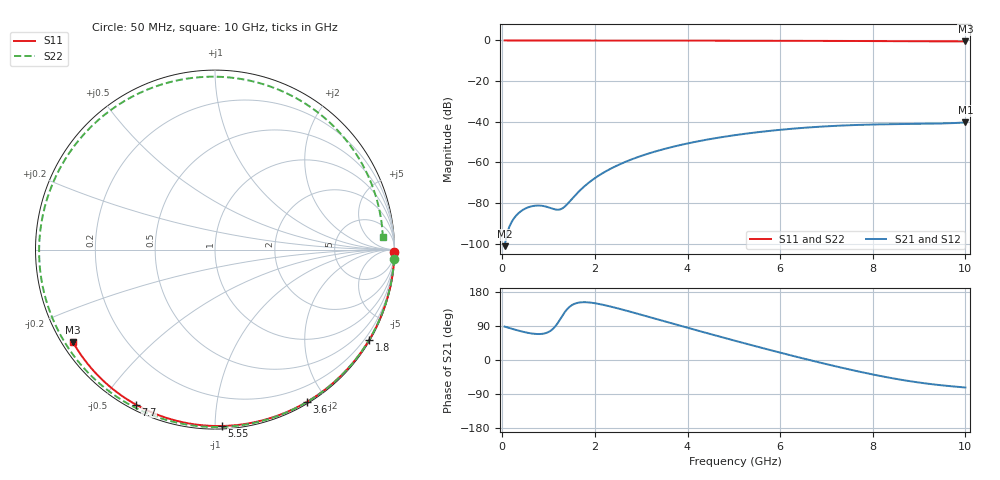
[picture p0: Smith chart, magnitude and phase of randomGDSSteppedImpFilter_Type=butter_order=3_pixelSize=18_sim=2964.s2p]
! freq	dB(S11)	phase(S11)	dB(S12)	phase(S12)
!  dB(S21)	phase(S21)	dB(S22)	phase(S22)
!S-par simulation data
#  GHz  S  DB  R 50
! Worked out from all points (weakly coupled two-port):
!   200 points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, 50 MHz to 10 GHz, reference 50 ohm
!   highest |S21| = -40.34 dB at 10 GHz (marker M1); lowest = -101.2 dB at 50 MHz (marker M2)
!   lowest |S11| = -0.5 dB at 10 GHz (marker M3), VSWR 35.10, Z = 1.55 - j14.8 ohm
!   |S11| at or under -10 dB: nowhere
!   |S22| runs from -0.6 to 0.0 dB; largest |S21 - S12| = 0
!   S11 on the Smith chart (normalised r, x): 50 MHz: open; 1.8 GHz: 0.03, -3.70; 3.6 GHz: 0.02, -1.77; 5.55 GHz: 0.02, -1.04; 7.7 GHz: 0.02, -0.61; 10 GHz: 0.03, -0.30
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0.05  -0.00 -0.9  -101.18 88.1  -101.18 88.1  -0.00 -2.9
0.4  -0.01 -6.8  -84.03 75.9  -84.03 75.9  -0.03 -23.0
0.75  -0.01 -12.7  -81.21 68.6  -81.21 68.6  -0.05 -42.3
1.05  -0.02 -17.8  -82.46 77.7  -82.46 77.7  -0.07 -58.2
1.4  -0.03 -23.7  -80.57 134.1  -80.57 134.1  -0.09 -75.4
1.75  -0.04 -29.4  -72.20 152.5  -72.20 152.5  -0.10 -91.4
1.8  -0.04 -30.3  -71.20 152.5  -71.20 152.5  -0.10 -93.6
2.1  -0.04 -35.2  -66.20 147.6  -66.20 147.6  -0.11 -106.1
2.45  -0.05 -40.9  -61.83 137.6  -61.83 137.6  -0.12 -119.7
2.9  -0.06 -48.1  -57.58 122.8  -57.58 122.8  -0.13 -135.7
3.4  -0.07 -55.9  -53.98 105.7  -53.98 105.7  -0.15 -152.1
3.6  -0.08 -59.0  -52.77 98.8  -52.77 98.8  -0.15 -158.3
4.3  -0.10 -69.7  -49.28 74.9  -49.28 74.9  -0.17 -178.8
5.05  -0.12 -80.7  -46.49 50.0  -46.49 50.0  -0.20 160.2
5.55  -0.14 -87.8  -45.03 33.7  -45.03 33.7  -0.23 146.5
6.7  -0.20 -103.8  -42.65 -2.1  -42.65 -2.1  -0.28 114.2
7.2  -0.23 -110.5  -41.99 -16.7  -41.99 -16.7  -0.31 99.4
7.7  -0.27 -117.1  -41.53 -30.5  -41.53 -30.5  -0.34 84.1
8.35  -0.32 -125.6  -41.20 -46.5  -41.20 -46.5  -0.38 63.1
8.8  -0.36 -131.4  -41.08 -55.9  -41.08 -55.9  -0.41 47.8
9.25  -0.41 -137.2  -40.94 -63.5  -40.94 -63.5  -0.45 31.9
10  -0.50 -146.9  -40.34 -72.6  -40.34 -72.6  -0.56 4.2
